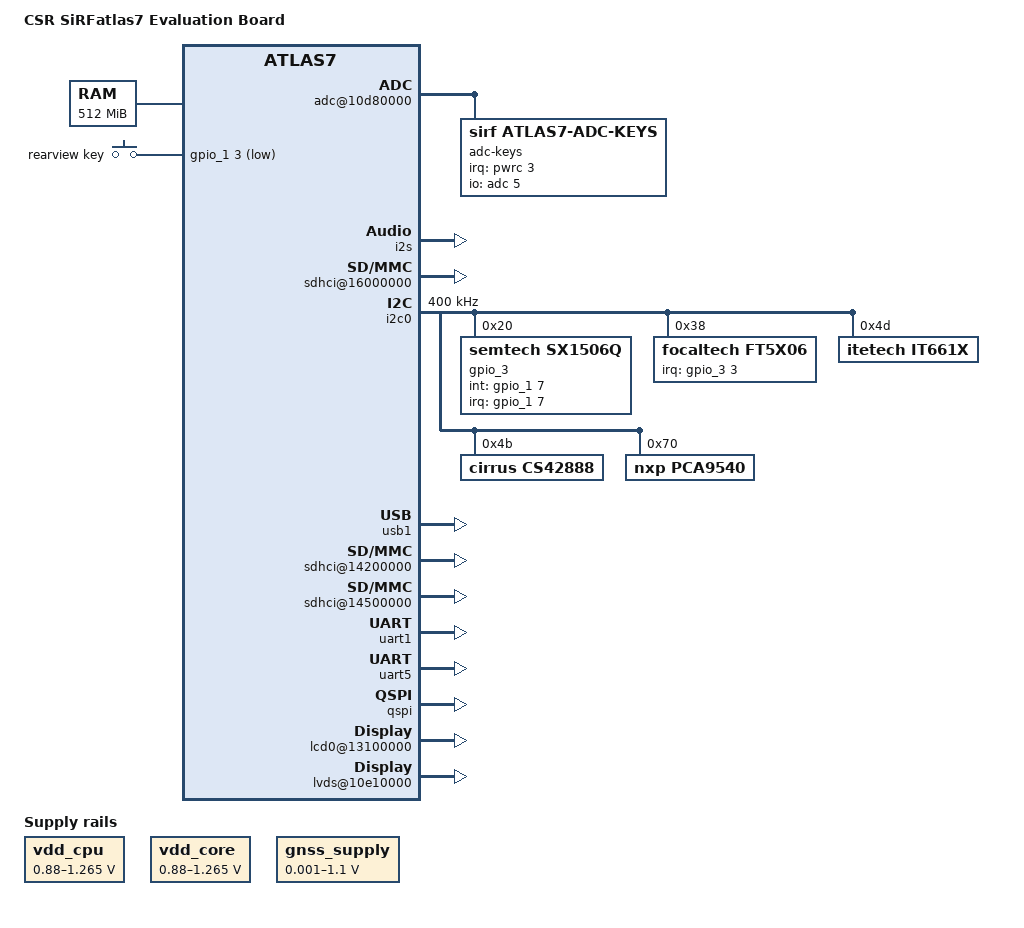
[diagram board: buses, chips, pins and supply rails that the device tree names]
/*
 * common components for atlas7 non-entry and entry EVB
 *
 * Copyright (c) 2015-2016, The Linux Foundation. All rights reserved.
 *
 * This program is free software; you can redistribute it and/or modify
 * it under the terms of the GNU General Public License version 2 and
 * only version 2 as published by the Free Software Foundation.
 *
 * This program is distributed in the hope that it will be useful,
 * but WITHOUT ANY WARRANTY; without even the implied warranty of
 * MERCHANTABILITY or FITNESS FOR A PARTICULAR PURPOSE.  See the
 * GNU General Public License for more details.
 */

#include <dt-bindings/input/input.h>
#include <dt-bindings/gpio/gpio.h>

/ {
	model = "CSR SiRFatlas7 Evaluation Board";
	compatible = "sirf,atlas7-cb", "sirf,atlas7";

	chosen {
		bootargs = "console=ttySiRF1,115200 earlyprintk";
	};

	memory {
		device_type = "memory";
		reg = <0x40000000 0x20000000>; /* 512M for PXP */
	};

	regulators {
		compatible = "simple-bus";
		#address-cells = <1>;
		#size-cells = <0>;

		vdd_cpu: pwm_regulator  {
			compatible = "pwm-regulator";
			pinctrl-names = "default";
			pinctrl-0 = <&pw_pwm_cpu_vol_pmx0>;
			pwms = <&pwm 2 60>;
			voltage-table = <1265000 0>,
				<1237542 4>,
				<1210038 8>,
				<1182534 12>,
				<1155030 16>,
				<1127526 20>,
				<1100022 24>,
				<1072518 28>,
				<1045014 32>,
				<1017510 36>,
				<990006 40>,
				<962502 44>,
				<934998 48>,
				<907494 52>,
				<879990 56>;
			regulator-min-microvolt = <879990>;
			regulator-max-microvolt = <1265000>;
			regulator-name = "vdd_cpu";
		};

		vdd_core: vdd_core {
			compatible = "pwm-regulator";
			pinctrl-names = "default";
			pinctrl-0 = <&pw_cko0_pmx0>;
			pwms = <&pwm 4 60>;
			voltage-table = <1265000 0>,
				<1237542 4>,
				<1210038 8>,
				<1182534 12>,
				<1155030 16>,
				<1127526 20>,
				<1100022 24>,
				<1072518 28>,
				<1045014 32>,
				<1017510 36>,
				<990006 40>,
				<962502 44>,
				<934998 48>,
				<907494 52>,
				<879990 56>;
			regulator-min-microvolt = <879990>;
			regulator-max-microvolt = <1265000>;
			regulator-name = "vdd_core";
		};

		gnss_supply: gnss_supply {
			compatible = "regulator-gpio";
			regulator-min-microvolt = <1000>;
			regulator-max-microvolt = <1100000>;
			regulator-name = "gnss_supply";
			regulator-type = "voltage";
			enable-at-boot;
			states = <1000 0x0
					1100000 0x1>;
			gpios = <&gpio_3 11 0>;
		};
	};

	sound-internal-audio {
		status = "disabled";
		compatible = "simple-audio-card";
		simple-audio-card,routing =
			"Headphone Jack", "LOUT0",
			"LIN0", "Line In Jack",
			"LIN1", "Line In Jack",
			"LIN2", "Line In Jack",
			"LIN3", "Line In Jack",
			"MICIN0", "Microphone Jack",
			"MICIN1", "Microphone Jack";
		simple-audio-card,widgets =
			"Microphone", "Microphone Jack",
			"Headphone", "Headphone Jack",
			"Line", "Line In Jack";
		simple-audio-card,codec {
			sound-dai = <&atlas7_codec>;
		};
		simple-audio-card,cpu {
			sound-dai = <&atlas7_iacc>;
		};
	};

	kas-pcm-audio {
		compatible = "csr,kas-pcm";
		i2s-master;
		bt-usp-port = <3>;
	};

	sound-kas-audio-card {
		compatible = "csr,kas-audio";
		mclk-fs = <1024>;
	};

	reserved-memory {
		#address-cells = <1>;
		#size-cells = <1>;
		ranges;

		/* global region for contiguous allocations */
		linux,cma {
			compatible = "shared-dma-pool";
			reusable;
			alloc-ranges = <0x46000000 0x6000000>;
			size = <0x6000000>;
			alignment = <0x2000>;
			linux,cma-default;
		};

		ipc_mem0: ns_m3_mem@45600000 {
			compatible = "sirf,reserved-memory";
			reg = <0x45600000 0x10000>;
		};

		ipc_mem1: ns_kal_mem@45610000 {
			compatible = "sirf,reserved-memory";
			reg = <0x45610000 0x10000>;
		};

		nanddisk_reserved: nanddisk@45000000 {
			reg = <0x45000000 0x200000>;
			no-map;
		};

		jpeg_reserved: jpeg@4c000000 {
			reg = <0x4c000000 0x1800000>;
			no-map;
		};

		multimedia_reserved: multimedia@4d800000 {
			reg = <0x4d800000 0x1800000>;
			no-map;
		};

		uboot_reserved: uboot@45800000 {
			reg = <0x45800000 0x200000>;
			no-map;
		};

		cm3_reserved: cm3@45400000 {
			reg = <0x45400000 0x200000>;
			no-map;
		};

		cm3_kas_reserved: cm3_kas@4ff00000 {
			reg = <0x4ff00000 0x200000>;
			no-map;
		};
	};

	kalimba {
		status = "okay";
	};

	ext-amp {
		compatible = "sirf,ext-amp";
		status = "disabled";
		cd-gpio = <&gpio_1 81 0>;
	};

	noc {
		kalimba_ipc@10C10000 {
			status = "okay";
		};

		audiom {
			timer@10dc0000 {
				status = "okay";
			};

			timerb@10dc8000 {
				status = "disabled";
			};

			adc@10d80000 {
				status = "okay";
				adc-keys {
					compatible = "sirf,atlas7-adc-keys";
					interrupt-parent = <&pwrc>;
					interrupts = <3 0>;
					io-channels = <&adc 5>;
					io-channel-names = "adc_keys";
					max-press-volt = <2500>;

					button-s2 {
						label = "Home";
						linux,code = <KEY_HOMEPAGE>;
						voltage = <1500>;
					};

					button-s7 {
						label = "Back";
						linux,code = <KEY_BACK>;
						voltage = <1426>;
					};

					button-s1 {
						label = "Volume Up";
						linux,code = <KEY_VOLUMEUP>;
						voltage = <1276>;
					};

					button-s4 {
						label = "Volume Down";
						linux,code =
							<KEY_VOLUMEDOWN>;
						voltage = <1123>;
					};

					button-s5 {
						label = "Recent APP";
						linux,code = <KEY_DASHBOARD>;
						voltage = <1608>;
					};

					button-s6 {
						label = "RearView";
						linux,code = <KEY_DIRECTION>;
						voltage = <1660>;
					};
				};
			};

			pulsec@10d90000 {
				status = "okay";
				pinctrl-names = "default";
				pinctrl-0 = <&ps_no_dir_pmx>;
			};

			vip0@10db0000 {
				compatible = "sirf,atlas7-cvd-vip",
						"sirf,rv-vip";
				status = "okay";
				port {
					#address-cells = <1>;
					#size-cells = <0>;
					vip0_0: endpoint@0 {
						reg = <0>;
						remote-endpoint = <&cvd_1>;
					};
				};
			};

			cvd@10db2000 {
				compatible = "sirf,cvd";
					input-number = <2>;
					inputs = <&cvbs0 &cvbs1>;
					cvbs0: cvbs@0 {
						input-name = "camera"; /* rv */
						input-id = <0>;
					};
					cvbs1: cvbs@1 {
						input-name = "dvd";
						input-id = <1>;
					};
					port {
						cvd_1: endpoint {
						hsync-active = <0>;
						vsync-active = <0>;
						remote-endpoint = <&vip0_0>;
					};
				};
			};

			analog_regulator: analog_regulator@10E30000 {
				status = "okay";
			};

			atlas7_codec: atlas7_codec@10E30000 {
				status = "okay";
			};

			atlas7_iacc: atlas7_iacc@10D01000 {
				status = "okay";
			};

			i2s: i2s@10d02000 {
				status = "okay";
				sw1-sel = <&gpio_3 8 0>;
				sw2-sel = <&gpio_3 9 0>;
				sw1-sel-val = <0>;
				sw2-sel-val = <1>; /*I2S_WS_AU output*/
				/*
				 * sw1-sel-val = <1>;
				 * sw2-sel-val = <0>; I2S_WS_VP output
				 * sw1-sel-val = <0>;
				 * sw2-sel-val = <0>; I2S_WS_LD output
				 */
			};
			usp0: usp@10d20000 {
				status = "okay";
				compatible = "sirf,prima2-usp-pcm";
				frame-syn-mode = "i2s";
			};

		};

		mediam {
			nand@17050000 {
				memory-region = <&nanddisk_reserved>;
			};

			multimedia@15000000 {
				memory-region = <&multimedia_reserved>;
			};

			jpeg@17000000 {
				memory-region = <&jpeg_reserved>;
			};

			sdhci@16000000 {
				pinctrl-names = "default";
				pinctrl-0 = <&sd0_pmx>;
				status = "okay";
			};

			i2c0: i2c@17020000 {
				status = "okay";
				pinctrl-names = "default";
				pinctrl-0 = <&i2c0_pmx>;
				clock-frequency = <400000>;

				gpio_3: i2c_gpio_expander@20{
					#gpio-cells = <2>;
					#interrupt-cells = <2>;
					compatible = "semtech,sx1506q";
					reg = <0x20>;
					interrupt-parent = <&gpio_1>;
					interrupts = <7 4>;
					int-gpios = <&gpio_1 7 0>;
					pulldn_ena = <0xff>;

					gpio-controller;
					interrupt-controller;
				};

				ft5x06@38{
					compatible = "focaltech,ft5x06";
					interrupt-parent = <&gpio_3>;
					interrupts = <3 0x02>;
					reg = <0x38>;
				};

				it661x: it661x_transmitter_chip@4d {
					compatible = "itetech,it661x";
					reg = <0x4D>;
					/*
					 * video-resolution:
					 *      1: 480P@60
					 *      2: 720P@60(by default)
					 *      3: 1080P@60
					 */
					video-resolution = <2>;
					/*
					 * video-in-pixel-format &
					 * video-out-pixel-format:
					 *      0: RGB888
					 *      1: YUV422
					 *      2: YUV444
					 */
					video-in-pixel-format = <1>;
					video-out-pixel-format = <0>;
				};

				cs42888: cs42888@4B {
					compatible = "cirrus,cs42888";
					reg = <0x4B>;
					clocks = <&car 7>;
					clock-names = "mclk";
					VA-supply = <0>;
					VD-supply = <0>;
					VLS-supply = <0>;
					VLC-supply = <0>;
				};
				pca9540@70 {
					compatible = "nxp,pca9540";
					#address-cells = <1>;
					#size-cells = <0>;
					reg = <0x70>;
				};
			};

			usb1: usb@17070000 {
				status = "okay";
			};

			usbphy1: usbphy@1 {
				status = "okay";
			};
		};

		vdifm {
			sdhci@14100000 {
				status = "disabled";
				pinctrl-names = "default";
				pinctrl-0 = <&sd9_pmx>;
			};

			sdhci@14200000 {
				status = "okay";
				pinctrl-names = "default";
				pinctrl-0 = <&sd2_basic_pmx
					&sd2_cdb_pmx0
					&sd2_wpb_pmx1>;
			};

			sdhci@14500000 {
				status = "okay";
				pinctrl-names = "default";
				pinctrl-0 = <&sd5_pmx>;
			};

			hsi2s0: i2s0@133d0000 {
				status = "disabled";
				pinctrl-names = "default";
				pinctrl-0 = <&i2s0_pmx>;
			};

		};

		sirf-backlight {
			compatible = "pwm-backlight";
			pinctrl-names = "default";
			pinctrl-0 = <&pw_backlight_pmx1>;
			pwms = <&pwm 3 50000>;
			brightness-levels = <0 32 48 56 64 96 112 128 144 160
				176 192 208 214 230 255>;
			default-brightness-level = <7>;
		};

		gnssm {
			uart1: uart@18020000 {
				status = "okay";
			};

			uart0: uart@18010000 {
				status = "disabled";
				pinctrl-0 = <&uart0_pmx>;
				pinctrl-names = "default";
				sirf,uart-has-rtscts;
			};

			uart2: uart@18030000 {
				       status = "disabled";
				       pinctrl-0 = <&uart2_cts_pmx0
					       &uart2_rts_pmx0
					       &uart2_rxd_pmx0
					       &uart2_txd_pmx0>;
				       pinctrl-names = "default";
			};

			uart3: uart@18040000 {
				status = "disabled";
				pinctrl-0 = <&uart3_rxd_pmx0
					&uart3_txd_pmx0>;
				pinctrl-names = "default";
			};

			uart5: uart@18060000 {
				status = "okay";
			};
		};

		rtcm {
			qspi: flash@188B0000 {
				status = "okay";
				pinctrl-names = "default";
				pinctrl-0 = <&sp0_qspi_pmx>;
				clock-rate = <20000000>;        /* 20MHz */
			};
		};

		ipc@13240000 {
			ns_m3_rproc@0 {
				memory-region = <&ipc_mem0>;
				status = "okay";
			};

			ns_m3_rproc@1 {
				status = "disabled";
			};

			ns_kal_rproc@0 {
				memory-region = <&ipc_mem1>;
				status = "disabled";
			};

			ns_kal_rproc@1 {
				status = "disabled";
			};
		};

		disp-iobg {
			lcd0@13100000 {
				status = "okay";
			};

			lvds@10e10000 {
				status = "okay";
				pinctrl-names = "default";
				pinctrl-0 = <&lvds_analog_pmx>;
				/* set to SYN or SLAVE for lvds panel */
				lvds-mode = "SLAVE";
			};
		};

		rgb: display@0 {
			compatible = "rgb-panel";
			source = "rgb.0";
			status = "disabled";
			pinctrl-names = "default";
			pinctrl-0 = <&ld_ldd_16bit_pmx &ld_ldd_fck_pmx
					&ld_ldd_lck_pmx>;

			data-lines  = <16>;

			display-timings {
				native-mode = <&timing0>;
				timing0: timing0 {
					clock-frequency = <40000000>;
					hactive = <800>;
					vactive = <480>;
					hfront-porch = <210>;
					hback-porch = <45>;
					hsync-len = <1>;
					vback-porch = <22>;
					vfront-porch = <132>;
					vsync-len = <1>;
					hsync-active = <0>;
					vsync-active = <0>;
					de-active = <1>;
					pixelclk-active = <1>;
				};
			};
		};

		gpio_keys {
			compatible = "gpio-keys";
			status = "okay";
			#address-cells = <1>;
			#size-cells = <0>;

			rearview_key {
				label = "rearview key";
				linux,code = <KEY_CAMERA>;
				gpios = <&gpio_1 3 GPIO_ACTIVE_LOW>;
				debounce-interval = <5>;
			};
		};

		sirf-rearview {
			compatible = "sirf,rearview";
			status = "okay";
			interrupts = <0 126 0>; /* IPC */
			reg = <0x1324020C 0x4>, /* IPC INT */
			     <0x188D001C 0x4>;  /* IPC MSG */
			mirror = <0>;
			source-std = "NTSC";		/* NTSC or PAL */
			display-panel = "display0";	/* display 0/1 */
		};
	};
};
